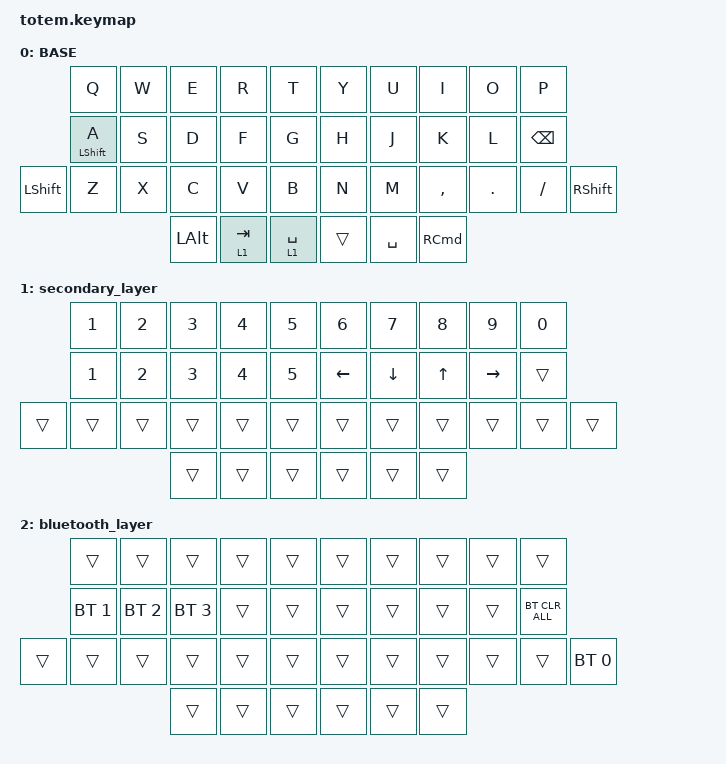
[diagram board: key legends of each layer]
//
//                                                        ▀▀▀▀▀     ▀▀▀▀▀          ▀▀█▀▀
//                                                        ▄▀▀▀▄  ▄  ▄▀▀▀▄  ▄  ▄▀▀▀▄  █  ▄▀▀▀▄
//                                                        █   █  █  █   █  █  █   █  █  █   █
//                                                         ▀▀▀   █   ▀▀▀   █   ▀▀▀   ▀   ▀▀▀
//                                                               █      ▄▄▄█▄▄▄    █   █  
//                                                               ▀      █  █  █     █▄█
//                                                             ▀▀▀▀▀    █  █  █      ▀
//                                                                      ▀  ▀  ▀
//
// ▄▄▄▄▄▄▄▄▄▄▄▄▄▄▄▄▄▄▄▄▄▄▄▄▄▄▄▄▄▄▄▄▄▄▄▄▄▄▄▄▄▄▄▄▄▄▄▄▄▄▄▄▄▄▄▄▄▄▄▄▄▄▄▄▄▄▄▄▄▄▄▄▄▄▄▄▄▄▄▄▄▄▄▄▄▄▄▄▄▄▄▄▄▄▄▄▄▄▄▄▄▄▄▄▄▄▄▄▄▄▄▄▄▄▄▄▄▄▄▄▄▄▄▄▄▄▄▄▄▄▄▄▄▄▄▄▄▄▄▄▄▄▄▄▄▄▄▄▄

#include <behaviors.dtsi>
#include <dt-bindings/zmk/bt.h>
#include <dt-bindings/zmk/keys.h>

#define BASE 0
#define NAV  1
#define SYM  2
#define ADJ  3
#define TVP1 4
#define TVP2 5

&mt {
    quick-tap-ms = <100>;
    global-quick-tap;
    flavor = "tap-preferred";
    tapping-term-ms = <170>;
};

/ {
    combos {
        compatible = "zmk,combos";

        /* vertical combos */

        exclamation {
            bindings = <&kp EXCLAMATION>;
            key-positions = <4 14>;
            require-prior-idle-ms = <50>;
            timeout-ms = <80>;
        };

        left_par {
            bindings = <&kp LEFT_PARENTHESIS>;
            key-positions = <13 3>;
            require-prior-idle-ms = <50>;
            timeout-ms = <80>;
        };

        right_par {
            bindings = <&kp RIGHT_PARENTHESIS>;
            key-positions = <6 16>;
            require-prior-idle-ms = <50>;
            timeout-ms = <80>;
        };

        left_curly {
            bindings = <&kp LEFT_BRACE>;
            key-positions = <2 12>;
            require-prior-idle-ms = <50>;
            timeout-ms = <80>;
        };

        right_curly {
            bindings = <&kp RIGHT_BRACE>;
            key-positions = <7 17>;
            require-prior-idle-ms = <50>;
            timeout-ms = <80>;
        };

        left_bracket {
            bindings = <&kp LEFT_BRACKET>;
            key-positions = <11 1>;
            require-prior-idle-ms = <50>;
            timeout-ms = <80>;
        };

        right_bracket {
            bindings = <&kp RIGHT_BRACKET>;
            key-positions = <18 8>;
            require-prior-idle-ms = <50>;
            timeout-ms = <80>;
        };

        pipe {
            bindings = <&kp PIPE>;
            key-positions = <5 15>;
            require-prior-idle-ms = <50>;
            timeout-ms = <80>;
        };

        enter {
            bindings = <&kp ENTER>;
            key-positions = <16 27>;
            require-prior-idle-ms = <50>;
            timeout-ms = <50>;
        };

        escape_alt {
            bindings = <&kp ESCAPE>;
            key-positions = <24 13>;
            timeout-ms = <50>;
            require-prior-idle-ms = <50>;
        };

        /* horizontal combos */

        num {
            bindings = <&kp HASH>;
            key-positions = <26 27>;
            require-prior-idle-ms = <180>;
            timeout-ms = <80>;
        };

        minus {
            bindings = <&kp MINUS>;
            key-positions = <15 16>;
            require-prior-idle-ms = <180>;
            timeout-ms = <80>;
        };

        plus {
            bindings = <&kp PLUS>;
            key-positions = <13 14>;
            require-prior-idle-ms = <180>;
            timeout-ms = <80>;
        };

        underscore {
            bindings = <&kp UNDERSCORE>;
            key-positions = <16 17>;
            require-prior-idle-ms = <115>;
            timeout-ms = <80>;
        };

        semi {
            bindings = <&kp SEMICOLON>;
            key-positions = <28 29>;
            require-prior-idle-ms = <180>;
            timeout-ms = <80>;
        };

        left_control {
            bindings = <&kp LEFT_CONTROL>;
            key-positions = <12 11>;
            require-prior-idle-ms = <115>;
            timeout-ms = <80>;
        };

        right_control {
            bindings = <&kp RIGHT_CONTROL>;
            key-positions = <17 18>;
            require-prior-idle-ms = <125>;
            timeout-ms = <80>;
        };

        tilde {
            bindings = <&kp TILDE>;
            key-positions = <24 25>;
            require-prior-idle-ms = <180>;
            timeout-ms = <80>;
        };

        /* other combos */

        at {
            bindings = <&kp AT_SIGN>;
            key-positions = <10 4>;
            require-prior-idle-ms = <150>;
            timeout-ms = <50>;
        };

        dollar {
            bindings = <&kp DOLLAR>;
            key-positions = <12 18>;
            require-prior-idle-ms = <150>;
            timeout-ms = <50>;
        };

        percent {
            bindings = <&kp PERCENT>;
            key-positions = <2 13>;
            require-prior-idle-ms = <150>;
            timeout-ms = <50>;
        };

        caret {
            bindings = <&kp CARET>;
            key-positions = <7 6 8>;
            require-prior-idle-ms = <150>;
            timeout-ms = <50>;
        };

        and {
            bindings = <&kp AMPERSAND>;
            key-positions = <26 12>;
            require-prior-idle-ms = <150>;
            timeout-ms = <50>;
        };

        star {
            bindings = <&kp ASTERISK>;
            key-positions = <11 4>;
            require-prior-idle-ms = <150>;
            timeout-ms = <50>;
        };

        equal {
            bindings = <&kp KP_EQUAL>;
            key-positions = <13 16>;
            require-prior-idle-ms = <150>;
            timeout-ms = <100>;
        };

        forward_slash {
            bindings = <&kp SLASH>;
            key-positions = <7 16>;
            require-prior-idle-ms = <150>;
            timeout-ms = <50>;
        };

        back_slash {
            bindings = <&kp BACKSLASH>;
            key-positions = <7 18>;
            require-prior-idle-ms = <150>;
            timeout-ms = <50>;
        };

        alt_single_quote {
            bindings = <&kp SINGLE_QUOTE>;
            key-positions = <27 29>;
            require-prior-idle-ms = <150>;
            timeout-ms = <50>;
        };

        alt_double_quote {
            bindings = <&kp DOUBLE_QUOTES>;
            key-positions = <16 18>;
            require-prior-idle-ms = <150>;
            timeout-ms = <50>;
        };

        alt_backtick {
            bindings = <&kp GRAVE>;
            key-positions = <8 6>;
            require-prior-idle-ms = <150>;
            timeout-ms = <50>;
        };

        /* special combos */

        bluetooth_layer {
            bindings = <&mo 2>;
            key-positions = <36 33>;
            require-prior-idle-ms = <150>;
            timeout-ms = <50>;
        };

        copy {
            bindings = <&kp LG(C)>;
            key-positions = <22 23>;
            timeout-ms = <80>;
            require-prior-idle-ms = <180>;
        };

        paste {
            bindings = <&kp LG(V)>;
            key-positions = <23 24>;
            timeout-ms = <80>;
            require-prior-idle-ms = <180>;
        };

        left_shift {
            bindings = <&kp LEFT_SHIFT>;
            key-positions = <2 1>;
            timeout-ms = <80>;
            require-prior-idle-ms = <115>;
        };

        right_shift {
            bindings = <&kp RIGHT_SHIFT>;
            key-positions = <7 8>;
            timeout-ms = <80>;
            require-prior-idle-ms = <115>;
        };
    };

    keymap {
        compatible = "zmk,keymap";

        // ▄▄▄▄▄▄▄▄▄▄▄▄▄▄▄▄▄▄▄▄▄▄▄▄▄▄▄▄▄▄▄▄▄▄▄▄▄▄▄▄▄▄▄▄▄▄▄▄▄▄▄▄▄▄▄▄▄▄▄▄▄▄▄▄▄▄▄▄▄▄▄▄▄▄▄▄▄▄▄▄▄▄▄▄▄▄▄▄▄▄▄▄▄▄▄▄▄▄▄▄▄▄▄▄▄▄▄▄▄▄▄▄▄▄▄▄▄▄▄▄▄▄▄▄▄▄▄▄▄▄▄▄▄▄▄▄▄▄▄▄▄▄▄▄▄▄▄▄▄

        base_layer {
            // ┏━━━━━━━━━━━━━━━━━━━━━━━━━━━━━━━━━━━━━━━┓

            label = "BASE";

            // ┗━━━━━━━━━━━━━━━━━━━━━━━━━━━━━━━━━━━━━━━┛
            //             ┏━━━━━━━━━━━┳━━━━━━━━━━━┳━━━━━━━━━━━┳━━━━━━━━━━━┳━━━━━━━━━━━┓   ┏━━━━━━━━━━━┳━━━━━━━━━━━┳━━━━━━━━━━━┳━━━━━━━━━━━┳━━━━━━━━━━━┓
            //             ┃     Q     ┃     W     ┃     F     ┃     P     ┃     G     ┃   ┃     J     ┃     L     ┃     U     ┃     Y     ┃     ;     ┃
            //             ┣━━━━━━━━━━━╋━━━━━━━━━━━╋━━━━━━━━━━━╋━━━━━━━━━━━╋━━━━━━━━━━━┫   ┣━━━━━━━━━━━╋━━━━━━━━━━━╋━━━━━━━━━━━╋━━━━━━━━━━━╋━━━━━━━━━━━┫
            //             ┃     A     ┃     R     ┃     S     ┃     T     ┃     D     ┃   ┃     H     ┃     N     ┃     E     ┃     I     ┃     O     ┃
            // ┏━━━━━━━━━━━╋━━━━━━━━━━━╋━━━━━━━━━━━╋━━━━━━━━━━━╋━━━━━━━━━━━╋━━━━━━━━━━━┫   ┣━━━━━━━━━━━╋━━━━━━━━━━━╋━━━━━━━━━━━╋━━━━━━━━━━━╋━━━━━━━━━━━╋━━━━━━━━━━━┓
            // ┃     Q     ┃     Z     ┃     X     ┃     C     ┃     V     ┃     B     ┃   ┃     K     ┃     M     ┃     ,     ┃     .     ┃     /     ┃     \     ┃
            // ┗━━━━━━━━━━━┻━━━━━━━━━━━┻━━━━━━━━━━━╋━━━━━━━━━━━╋━━━━━━━━━━━╋━━━━━━━━━━━┫   ┣━━━━━━━━━━━╋━━━━━━━━━━━╋━━━━━━━━━━━╋━━━━━━━━━━━┻━━━━━━━━━━━┻━━━━━━━━━━━┛
            //                                     ┃    DEL    ┃    TAB    ┃    SPC    ┃   ┃   ENTER   ┃           ┃   BSPC    ┃
            //                                     ┗━━━━━━━━━━━┻━━━━━━━━━━━┻━━━━━━━━━━━┛   ┗━━━━━━━━━━━┻━━━━━━━━━━━┻━━━━━━━━━━━┛

            bindings = <
           &kp Q             &kp W  &kp E     &kp R      &kp T          &kp Y   &kp U      &kp I              &kp O    &kp P
           &mt LEFT_SHIFT A  &kp S  &kp D     &kp F      &kp G          &kp H   &kp J      &kp K              &kp L    &kp BSPC
&kp LSHFT  &kp Z             &kp X  &kp C     &kp V      &kp B          &kp N   &kp M      &kp COMMA          &kp DOT  &kp FSLH  &kp RSHIFT
                                    &kp LALT  &lt 1 TAB  &lt 1 SPACE    &trans  &kp SPACE  &kp RIGHT_COMMAND
            >;
        };

        // ▄▄▄▄▄▄▄▄▄▄▄▄▄▄▄▄▄▄▄▄▄▄▄▄▄▄▄▄▄▄▄▄▄▄▄▄▄▄▄▄▄▄▄▄▄▄▄▄▄▄▄▄▄▄▄▄▄▄▄▄▄▄▄▄▄▄▄▄▄▄▄▄▄▄▄▄▄▄▄▄▄▄▄▄▄▄▄▄▄▄▄▄▄▄▄▄▄▄▄▄▄▄▄▄▄▄▄▄▄▄▄▄▄▄▄▄▄▄▄▄▄▄▄▄▄▄▄▄▄▄▄▄▄▄▄▄▄▄▄▄▄▄▄▄▄▄▄▄▄
        // ▄▄▄▄▄▄▄▄▄▄▄▄▄▄▄▄▄▄▄▄▄▄▄▄▄▄▄▄▄▄▄▄▄▄▄▄▄▄▄▄▄▄▄▄▄▄▄▄▄▄▄▄▄▄▄▄▄▄▄▄▄▄▄▄▄▄▄▄▄▄▄▄▄▄▄▄▄▄▄▄▄▄▄▄▄▄▄▄▄▄▄▄▄▄▄▄▄▄▄▄▄▄▄▄▄▄▄▄▄▄▄▄▄▄▄▄▄▄▄▄▄▄▄▄▄▄▄▄▄▄▄▄▄▄▄▄▄▄▄▄▄▄▄▄▄▄▄▄▄
        // ▄▄▄▄▄▄▄▄▄▄▄▄▄▄▄▄▄▄▄▄▄▄▄▄▄▄▄▄▄▄▄▄▄▄▄▄▄▄▄▄▄▄▄▄▄▄▄▄▄▄▄▄▄▄▄▄▄▄▄▄▄▄▄▄▄▄▄▄▄▄▄▄▄▄▄▄▄▄▄▄▄▄▄▄▄▄▄▄▄▄▄▄▄▄▄▄▄▄▄▄▄▄▄▄▄▄▄▄▄▄▄▄▄▄▄▄▄▄▄▄▄▄▄▄▄▄▄▄▄▄▄▄▄▄▄▄▄▄▄▄▄▄▄▄▄▄▄▄▄
        // ▄▄▄▄▄▄▄▄▄▄▄▄▄▄▄▄▄▄▄▄▄▄▄▄▄▄▄▄▄▄▄▄▄▄▄▄▄▄▄▄▄▄▄▄▄▄▄▄▄▄▄▄▄▄▄▄▄▄▄▄▄▄▄▄▄▄▄▄▄▄▄▄▄▄▄▄▄▄▄▄▄▄▄▄▄▄▄▄▄▄▄▄▄▄▄▄▄▄▄▄▄▄▄▄▄▄▄▄▄▄▄▄▄▄▄▄▄▄▄▄▄▄▄▄▄▄▄▄▄▄▄▄▄▄▄▄▄▄▄▄▄▄▄▄▄▄▄▄▄
        // ▄▄▄▄▄▄▄▄▄▄▄▄▄▄▄▄▄▄▄▄▄▄▄▄▄▄▄▄▄▄▄▄▄▄▄▄▄▄▄▄▄▄▄▄▄▄▄▄▄▄▄▄▄▄▄▄▄▄▄▄▄▄▄▄▄▄▄▄▄▄▄▄▄▄▄▄▄▄▄▄▄▄▄▄▄▄▄▄▄▄▄▄▄▄▄▄▄▄▄▄▄▄▄▄▄▄▄▄▄▄▄▄▄▄▄▄▄▄▄▄▄▄▄▄▄▄▄▄▄▄▄▄▄▄▄▄▄▄▄▄▄▄▄▄▄▄▄▄▄

        secondary_layer {
            bindings = <
        &kp NUMBER_1  &kp NUMBER_2  &kp NUMBER_3  &kp NUMBER_4  &kp NUMBER_5    &kp NUMBER_6    &kp N7          &kp NUMBER_8  &kp NUMBER_9  &kp NUMBER_0
        &kp N1        &kp N2        &kp N3        &kp N4        &kp N5          &kp LEFT_ARROW  &kp DOWN_ARROW  &kp UP_ARROW  &kp RIGHT     &trans
&trans  &trans        &trans        &trans        &trans        &trans          &trans          &trans          &trans        &trans        &trans        &trans
                                    &trans        &trans        &trans          &trans          &trans          &trans
            >;
        };

        bluetooth_layer {
            bindings = <
        &trans        &trans        &trans        &trans  &trans    &trans  &trans  &trans  &trans  &trans
        &bt BT_SEL 1  &bt BT_SEL 2  &bt BT_SEL 3  &trans  &trans    &trans  &trans  &trans  &trans  &bt BT_CLR_ALL
&trans  &trans        &trans        &trans        &trans  &trans    &trans  &trans  &trans  &trans  &trans          &bt BT_SEL 0
                                    &trans        &trans  &trans    &trans  &trans  &trans
            >;
        };
    };
};
